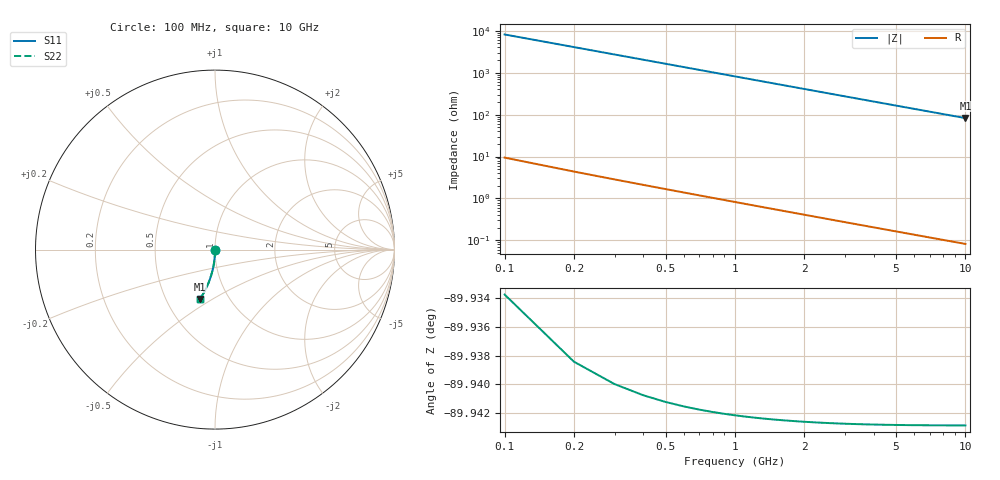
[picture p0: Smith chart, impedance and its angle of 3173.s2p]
# Hz S RI R 50.00
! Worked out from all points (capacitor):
!   100 points, 100 MHz to 10 GHz, reference 50 ohm
!   read as one part in shunt: C = 195 fF near 100 MHz
!   lowest |Z| = 82.7 ohm at 10 GHz (marker M1)
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1e8  -1.04e-05 -0.00305  1 -0.00307  1 -0.00307  -1.04e-05 -0.00305
2e8  -4.16e-05 -0.0061  1 -0.00615  1 -0.00615  -4.16e-05 -0.0061
3e8  -9.14e-05 -0.00914  0.9999 -0.00922  0.9999 -0.00922  -9.14e-05 -0.00914
4e8  -0.00016 -0.0122  0.9998 -0.0123  0.9998 -0.0123  -0.00016 -0.0122
5e8  -0.000247 -0.0152  0.9997 -0.0154  0.9997 -0.0154  -0.000247 -0.0152
6e8  -0.000353 -0.0183  0.9996 -0.0184  0.9996 -0.0184  -0.000353 -0.0183
7e8  -0.000478 -0.0213  0.9995 -0.0215  0.9995 -0.0215  -0.000478 -0.0213
8e8  -0.000621 -0.0244  0.9994 -0.0246  0.9994 -0.0246  -0.000621 -0.0244
9e8  -0.000783 -0.0274  0.9992 -0.0276  0.9992 -0.0276  -0.000783 -0.0274
1.1e9  -0.00116 -0.0335  0.9988 -0.0337  0.9988 -0.0337  -0.00116 -0.0335
1.4e9  -0.00187 -0.0425  0.9981 -0.0429  0.9981 -0.0429  -0.00187 -0.0425
1.8e9  -0.00307 -0.0546  0.9969 -0.0551  0.9969 -0.0551  -0.00307 -0.0546
2.1e9  -0.00416 -0.0636  0.9958 -0.0641  0.9958 -0.0641  -0.00416 -0.0636
2.5e9  -0.00586 -0.0756  0.9941 -0.0762  0.9941 -0.0762  -0.00586 -0.0756
2.9e9  -0.00785 -0.0874  0.9921 -0.0882  0.9921 -0.0882  -0.00785 -0.0874
3.4e9  -0.0107 -0.1021  0.9893 -0.103  0.9893 -0.103  -0.0107 -0.1021
4.2e9  -0.0162 -0.1253  0.9838 -0.1263  0.9838 -0.1263  -0.0162 -0.1253
5.1e9  -0.0236 -0.1508  0.9764 -0.1521  0.9764 -0.1521  -0.0236 -0.1508
5.9e9  -0.0313 -0.1728  0.9687 -0.1744  0.9687 -0.1744  -0.0313 -0.1728
6.7e9  -0.0399 -0.1943  0.9601 -0.196  0.9601 -0.196  -0.0399 -0.1943
8.4e9  -0.061 -0.2377  0.939 -0.2399  0.939 -0.2399  -0.061 -0.2377
1e10  -0.084 -0.2755  0.916 -0.2782  0.916 -0.2782  -0.084 -0.2755
